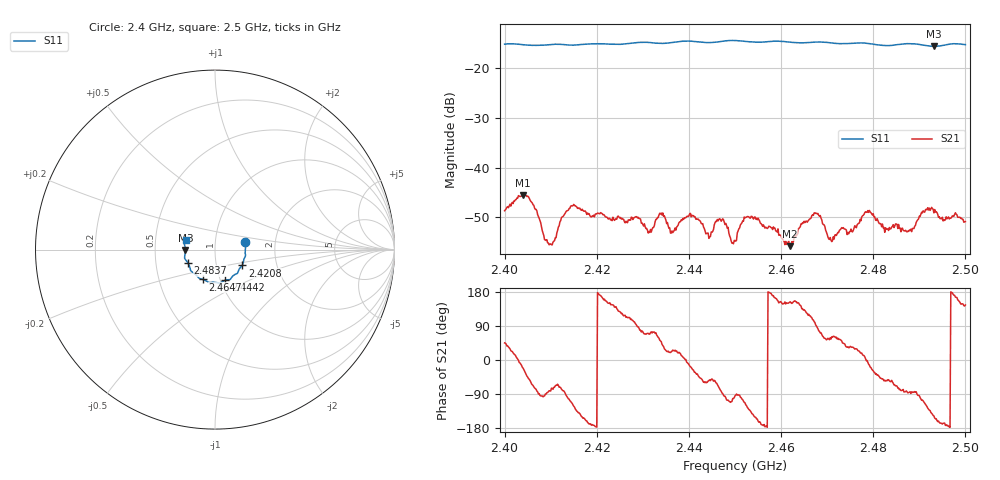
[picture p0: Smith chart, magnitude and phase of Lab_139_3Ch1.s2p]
# Hz S RI R 50
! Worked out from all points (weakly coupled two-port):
!   601 points, 2.4 GHz to 2.5 GHz, reference 50 ohm
!   highest |S21| = -45.53 dB at 2.404 GHz (marker M1); lowest = -55.8 dB at 2.4618 GHz (marker M2)
!   lowest |S11| = -15.6 dB at 2.4932 GHz (marker M3), VSWR 1.40, Z = 35.8 - j0.109 ohm
!   |S11| at or under -10 dB: start of sweep to end of sweep
!   S12 and S22 are empty: the file has one direction only
!   S11 on the Smith chart (normalised r, x): 2.4 GHz: 1.40, +0.12; 2.4208 GHz: 1.33, -0.24; 2.4442 GHz: 1.05, -0.37; 2.4647 GHz: 0.83, -0.28; 2.4837 GHz: 0.73, -0.11; 2.5 GHz: 0.72, +0.08
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2.4e9  0.1688 0.0406  0.0026 0.00261  0 0  0 0
2.404e9  0.1704 0.0186  0.00493 -0.00193  0 0  0 0
2.409833e9  0.1697 -0.0278  0.00026 -0.00168  0 0  0 0
2.414e9  0.1627 -0.0497  -0.000892 -0.00377  0 0  0 0
2.416667e9  0.1582 -0.0684  -0.00318 -0.00192  0 0  0 0
2.420833e9  0.1517 -0.088  -0.00347 0.000614  0 0  0 0
2.4315e9  0.1195 -0.1352  0.000822 0.00207  0 0  0 0
2.433333e9  0.1084 -0.1401  0.00158 0.00272  0 0  0 0
2.440667e9  0.0796 -0.1677  0.00306 -0.00129  0 0  0 0
2.444167e9  0.0569 -0.1706  0.00124 -0.00181  0 0  0 0
2.447e9  0.0363 -0.1813  0.000383 -0.00286  0 0  0 0
2.45e9  0.0245 -0.1874  -0.000148 -0.00184  0 0  0 0
2.453167e9  0.00796 -0.1832  -0.00209 -0.00232  0 0  0 0
2.461833e9  -0.0451 -0.1767  -0.00144 0.000752  0 0  0 0
2.464667e9  -0.0671 -0.1661  -0.00199 0.00197  0 0  0 0
2.466667e9  -0.0811 -0.1622  -0.00122 0.00305  0 0  0 0
2.470667e9  -0.0953 -0.1518  0.00102 0.0017  0 0  0 0
2.478667e9  -0.1369 -0.1122  0.00355 -8.56e-05  0 0  0 0
2.483333e9  -0.1497 -0.0762  0.00143 -0.00184  0 0  0 0
2.483667e9  -0.1515 -0.0734  0.00132 -0.00202  0 0  0 0
2.493167e9  -0.1651 -0.00148  -0.00296 -0.00188  0 0  0 0
2.5e9  -0.1638 0.0518  -0.00235 0.00164  0 0  0 0
